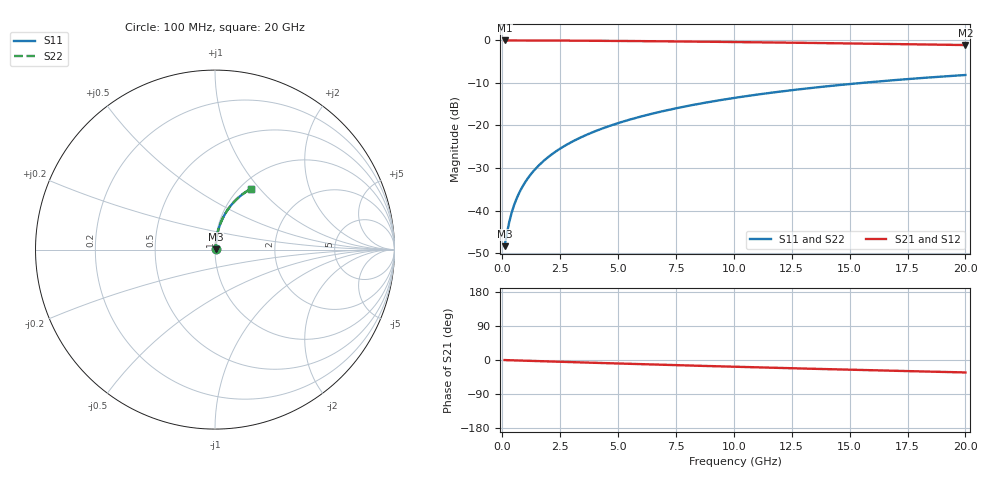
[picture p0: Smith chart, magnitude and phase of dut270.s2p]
! Touchstone file exported from HFSS 2024.1.0
!  File:  C:/UserFiles/LocalFiles/RDL_TSV_Batchsim/temp_RDL_bottom_270_1778702484.aedt
!  Generated:  04:04:14 AM May 14, 2026
!  Design:  RDL_bottom
!  Project:  temp_RDL_bottom_270_1778702484
!  Setup:  Setup1
!  Solution:  Sweep
! Variables:
!  dtsv = 10.80580581um
!  hbump = 3um
!  htsv = 57.62um
!  ldown = 403.66um
!  lrdl = 100um
!  p = 40
!  p1 = 48.34um
!  rhole = 1um
!  t = 450um
!  tdown = 3.84um
!  trdl = 3.915915916um
!  wdown = 12.32um
!  wrdl = 20um
# GHz S MA R 50.000000
! Terminal data exported
! Port[1] = RDL1_T1
! Port[2] = RDL1_T2
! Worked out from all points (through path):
!   200 points, 100 MHz to 20 GHz, reference 50 ohm
!   highest |S21| = -0.03 dB at 100 MHz (marker M1); lowest = -1.1 dB at 20 GHz (marker M2)
!   group delay of S21, straight-line fit = 4.55 ps
!   lowest |S11| = -48.4 dB at 100 MHz (marker M3), VSWR 1.01, Z = 50.3 + j0.223 ohm
!   |S11| at or under -10 dB: start of sweep to 15.53 GHz
!   |S22| runs from -48.4 to -8.1 dB; largest |S21 - S12| = 4.5e-15
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0.1  0.003823 35.3  0.9969 -0.2  0.9969 -0.2  0.003823 35.3
! Gamma 0 0 0 0
! Port Impedance 50 0 50 0
0.2  0.005434 54.2  0.9968 -0.4  0.9968 -0.4  0.005434 54.2
0.3  0.007345 63.6  0.9967 -0.6  0.9967 -0.6  0.007345 63.6
0.4  0.009356 69.0  0.9966 -0.8  0.9966 -0.8  0.009356 69.0
0.5  0.0114 72.3  0.9965 -1.0  0.9965 -1.0  0.0114 72.3
0.6  0.01347 74.7  0.9964 -1.1  0.9964 -1.1  0.01347 74.7
0.8  0.01763 77.6  0.9962 -1.5  0.9962 -1.5  0.01763 77.6
1.1  0.02391 80.0  0.9959 -2.1  0.9959 -2.1  0.02391 80.0
1.5  0.03234 81.5  0.9953 -2.8  0.9953 -2.8  0.03234 81.5
1.8  0.03869 82.1  0.9947 -3.4  0.9947 -3.4  0.03869 82.1
2.1  0.04504 82.4  0.9941 -3.9  0.9941 -3.9  0.04504 82.4
2.7  0.05777 82.5  0.9926 -5.0  0.9926 -5.0  0.05777 82.5
3.5  0.07475 82.1  0.9901 -6.5  0.9901 -6.5  0.07475 82.1
4.2  0.08961 81.5  0.9876 -7.8  0.9876 -7.8  0.08961 81.5
5  0.1065 80.7  0.9842 -9.2  0.9842 -9.2  0.1065 80.7
5.9  0.1255 79.6  0.9799 -10.8  0.9799 -10.8  0.1255 79.6
6.8  0.1444 78.5  0.9751 -12.4  0.9751 -12.4  0.1444 78.5
8.3  0.1756 76.4  0.9665 -14.9  0.9665 -14.9  0.1756 76.4
10.1  0.2124 73.8  0.955 -17.9  0.955 -17.9  0.2124 73.8
13.4  0.2769 69.0  0.9318 -23.2  0.9318 -23.2  0.2769 69.0
16.7  0.3369 64.2  0.9067 -28.1  0.9067 -28.1  0.3369 64.2
20  0.3916 59.6  0.8804 -32.8  0.8804 -32.8  0.3916 59.5
